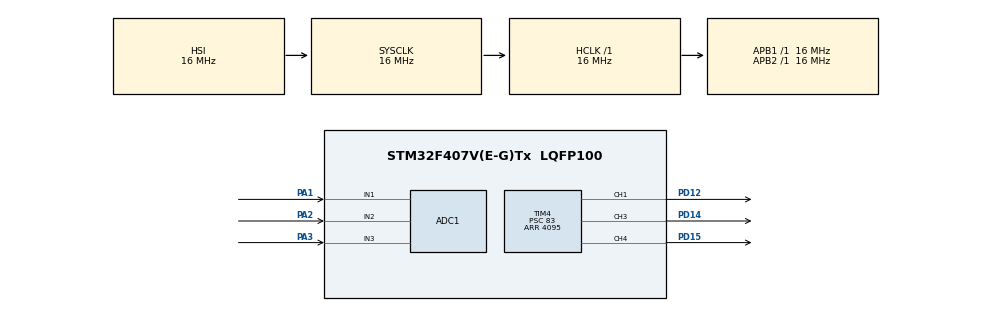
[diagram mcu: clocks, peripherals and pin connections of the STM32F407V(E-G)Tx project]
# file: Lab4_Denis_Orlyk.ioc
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ADC1.Channel-0\#ChannelRegularConversion=ADC_CHANNEL_1
ADC1.Channel-1\#ChannelRegularConversion=ADC_CHANNEL_2
ADC1.Channel-2\#ChannelRegularConversion=ADC_CHANNEL_3
ADC1.ClockPrescaler=ADC_CLOCK_SYNC_PCLK_DIV8
ADC1.NbrOfConversion=3
ADC1.NbrOfConversionFlag=1
ADC1.Rank-0\#ChannelRegularConversion=1
ADC1.Rank-1\#ChannelRegularConversion=2
ADC1.Rank-2\#ChannelRegularConversion=3
ADC1.SamplingTime-0\#ChannelRegularConversion=ADC_SAMPLETIME_480CYCLES
ADC1.SamplingTime-1\#ChannelRegularConversion=ADC_SAMPLETIME_480CYCLES
ADC1.SamplingTime-2\#ChannelRegularConversion=ADC_SAMPLETIME_480CYCLES
ADC1.master=1
Mcu.Family=STM32F4
Mcu.Name=STM32F407V(E-G)Tx
Mcu.Package=LQFP100
NVIC.PriorityGroup=NVIC_PRIORITYGROUP_4
PA1.Signal=ADCx_IN1
PA2.Signal=ADCx_IN2
PA3.Signal=ADCx_IN3
PD12.Signal=S_TIM4_CH1
PD14.Signal=S_TIM4_CH3
PD15.Signal=S_TIM4_CH4
ProjectManager.HeapSize=0x200
ProjectManager.StackSize=0x400
ProjectManager.TargetToolchain=STM32CubeIDE
RCC.AHBFreq_Value=16000000
RCC.APB1Freq_Value=16000000
RCC.APB2Freq_Value=16000000
RCC.CortexFreq_Value=16000000
RCC.HSE_VALUE=25000000
RCC.HSI_VALUE=16000000
RCC.LSE_VALUE=32768
RCC.SYSCLKFreq_VALUE=16000000
RCC.VCOOutputFreq_Value=192000000
SH.ADCx_IN1.0=ADC1_IN1,IN1
SH.ADCx_IN2.0=ADC1_IN2,IN2
SH.ADCx_IN3.0=ADC1_IN3,IN3
SH.S_TIM4_CH1.0=TIM4_CH1,PWM Generation1 CH1
SH.S_TIM4_CH3.0=TIM4_CH3,PWM Generation3 CH3
SH.S_TIM4_CH4.0=TIM4_CH4,PWM Generation4 CH4
TIM4.Channel-PWM\ Generation1\ CH1=TIM_CHANNEL_1
TIM4.Channel-PWM\ Generation3\ CH3=TIM_CHANNEL_3
TIM4.Channel-PWM\ Generation4\ CH4=TIM_CHANNEL_4
TIM4.Period=4095
TIM4.Prescaler=83
VP_TIM4_VS_ClockSourceINT.Mode=Internal
board=custom

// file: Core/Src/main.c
/* USER CODE BEGIN Header */
/**
  ******************************************************************************
  * @file           : main.c
  * @brief          : Main program body
  ******************************************************************************
  * @attention
  *
  * Copyright (c) 2026 STMicroelectronics.
  * All rights reserved.
  *
  * This software is licensed under terms that can be found in the LICENSE file
  * in the root directory of this software component.
  * If no LICENSE file comes with this software, it is provided AS-IS.
  *
  ******************************************************************************
  */
/* USER CODE END Header */
#include "main.h"

ADC_HandleTypeDef hadc1;

TIM_HandleTypeDef htim4;

void SystemClock_Config(void);
static void MX_GPIO_Init(void);
static void MX_ADC1_Init(void);
static void MX_TIM4_Init(void);

int main(void)
{

  /* MCU Configuration--------------------------------------------------------*/

  /* Reset of all peripherals, Initializes the Flash interface and the Systick. */
  HAL_Init();

  /* Configure the system clock */
  SystemClock_Config();

  /* Initialize all configured peripherals */
  MX_GPIO_Init();
  MX_ADC1_Init();
  MX_TIM4_Init();
  /* USER CODE BEGIN 2 */
  HAL_TIM_PWM_Start(&htim4, TIM_CHANNEL_1);
  HAL_TIM_PWM_Start(&htim4, TIM_CHANNEL_3);
  HAL_TIM_PWM_Start(&htim4, TIM_CHANNEL_4);

  uint32_t adcValue1 = 0, adcValue2 = 0, adcValue3 = 0;
  volatile HAL_StatusTypeDef adcPoolResult;
  /* USER CODE END 2 */

  /* Infinite loop */
  /* USER CODE BEGIN WHILE */
  while (1)
  {
	  HAL_ADC_Start(&hadc1);
	  adcPoolResult = HAL_ADC_PollForConversion(&hadc1, 10);

	  if (adcPoolResult == HAL_OK) {
		  adcValue1 = HAL_ADC_GetValue(&hadc1);
	  } else {
		  continue;
	  }

	  adcPoolResult = HAL_ADC_PollForConversion(&hadc1, 10);

	  if (adcPoolResult == HAL_OK) {
		  adcValue2 = HAL_ADC_GetValue(&hadc1);
	  } else {
		  continue;
	  }

	  adcPoolResult = HAL_ADC_PollForConversion(&hadc1, 10);

	  if (adcPoolResult == HAL_OK) {
		  adcValue3 = HAL_ADC_GetValue(&hadc1);
	  } else {
		  continue;
	  }

	  HAL_ADC_Stop(&hadc1);

	  __HAL_TIM_SET_COMPARE(&htim4, TIM_CHANNEL_1, adcValue1);
	  __HAL_TIM_SET_COMPARE(&htim4, TIM_CHANNEL_3, adcValue2);
	  __HAL_TIM_SET_COMPARE(&htim4, TIM_CHANNEL_4, adcValue3);
    /* USER CODE END WHILE */

  }
}

void SystemClock_Config(void)
{
  RCC_OscInitTypeDef RCC_OscInitStruct = {0};
  RCC_ClkInitTypeDef RCC_ClkInitStruct = {0};

  /** Configure the main internal regulator output voltage
  */
  __HAL_RCC_PWR_CLK_ENABLE();
  __HAL_PWR_VOLTAGESCALING_CONFIG(PWR_REGULATOR_VOLTAGE_SCALE1);

  /** Initializes the RCC Oscillators according to the specified parameters
  * in the RCC_OscInitTypeDef structure.
  */
  RCC_OscInitStruct.OscillatorType = RCC_OSCILLATORTYPE_HSI;
  RCC_OscInitStruct.HSIState = RCC_HSI_ON;
  RCC_OscInitStruct.HSICalibrationValue = RCC_HSICALIBRATION_DEFAULT;
  RCC_OscInitStruct.PLL.PLLState = RCC_PLL_NONE;
  if (HAL_RCC_OscConfig(&RCC_OscInitStruct) != HAL_OK)
  {
    Error_Handler();
  }

  /** Initializes the CPU, AHB and APB buses clocks
  */
  RCC_ClkInitStruct.ClockType = RCC_CLOCKTYPE_HCLK|RCC_CLOCKTYPE_SYSCLK
                              |RCC_CLOCKTYPE_PCLK1|RCC_CLOCKTYPE_PCLK2;
  RCC_ClkInitStruct.SYSCLKSource = RCC_SYSCLKSOURCE_HSI;
  RCC_ClkInitStruct.AHBCLKDivider = RCC_SYSCLK_DIV1;
  RCC_ClkInitStruct.APB1CLKDivider = RCC_HCLK_DIV1;
  RCC_ClkInitStruct.APB2CLKDivider = RCC_HCLK_DIV1;

  if (HAL_RCC_ClockConfig(&RCC_ClkInitStruct, FLASH_LATENCY_0) != HAL_OK)
  {
    Error_Handler();
  }
}

static void MX_ADC1_Init(void)
{

  ADC_ChannelConfTypeDef sConfig = {0};

  /** Configure the global features of the ADC (Clock, Resolution, Data Alignment and number of conversion)
  */
  hadc1.Instance = ADC1;
  hadc1.Init.ClockPrescaler = ADC_CLOCK_SYNC_PCLK_DIV8;
  hadc1.Init.Resolution = ADC_RESOLUTION_12B;
  hadc1.Init.ScanConvMode = ENABLE;
  hadc1.Init.ContinuousConvMode = DISABLE;
  hadc1.Init.DiscontinuousConvMode = DISABLE;
  hadc1.Init.ExternalTrigConvEdge = ADC_EXTERNALTRIGCONVEDGE_NONE;
  hadc1.Init.ExternalTrigConv = ADC_SOFTWARE_START;
  hadc1.Init.DataAlign = ADC_DATAALIGN_RIGHT;
  hadc1.Init.NbrOfConversion = 3;
  hadc1.Init.DMAContinuousRequests = DISABLE;
  hadc1.Init.EOCSelection = ADC_EOC_SINGLE_CONV;
  if (HAL_ADC_Init(&hadc1) != HAL_OK)
  {
    Error_Handler();
  }

  /** Configure for the selected ADC regular channel its corresponding rank in the sequencer and its sample time.
  */
  sConfig.Channel = ADC_CHANNEL_1;
  sConfig.Rank = 1;
  sConfig.SamplingTime = ADC_SAMPLETIME_480CYCLES;
  if (HAL_ADC_ConfigChannel(&hadc1, &sConfig) != HAL_OK)
  {
    Error_Handler();
  }

  /** Configure for the selected ADC regular channel its corresponding rank in the sequencer and its sample time.
  */
  sConfig.Channel = ADC_CHANNEL_2;
  sConfig.Rank = 2;
  if (HAL_ADC_ConfigChannel(&hadc1, &sConfig) != HAL_OK)
  {
    Error_Handler();
  }

  /** Configure for the selected ADC regular channel its corresponding rank in the sequencer and its sample time.
  */
  sConfig.Channel = ADC_CHANNEL_3;
  sConfig.Rank = 3;
  if (HAL_ADC_ConfigChannel(&hadc1, &sConfig) != HAL_OK)
  {
    Error_Handler();
  }

}

static void MX_TIM4_Init(void)
{

  TIM_ClockConfigTypeDef sClockSourceConfig = {0};
  TIM_MasterConfigTypeDef sMasterConfig = {0};
  TIM_OC_InitTypeDef sConfigOC = {0};

  htim4.Instance = TIM4;
  htim4.Init.Prescaler = 83;
  htim4.Init.CounterMode = TIM_COUNTERMODE_UP;
  htim4.Init.Period = 4095;
  htim4.Init.ClockDivision = TIM_CLOCKDIVISION_DIV1;
  htim4.Init.AutoReloadPreload = TIM_AUTORELOAD_PRELOAD_DISABLE;
  if (HAL_TIM_Base_Init(&htim4) != HAL_OK)
  {
    Error_Handler();
  }
  sClockSourceConfig.ClockSource = TIM_CLOCKSOURCE_INTERNAL;
  if (HAL_TIM_ConfigClockSource(&htim4, &sClockSourceConfig) != HAL_OK)
  {
    Error_Handler();
  }
  if (HAL_TIM_PWM_Init(&htim4) != HAL_OK)
  {
    Error_Handler();
  }
  sMasterConfig.MasterOutputTrigger = TIM_TRGO_RESET;
  sMasterConfig.MasterSlaveMode = TIM_MASTERSLAVEMODE_DISABLE;
  if (HAL_TIMEx_MasterConfigSynchronization(&htim4, &sMasterConfig) != HAL_OK)
  {
    Error_Handler();
  }
  sConfigOC.OCMode = TIM_OCMODE_PWM1;
  sConfigOC.Pulse = 0;
  sConfigOC.OCPolarity = TIM_OCPOLARITY_HIGH;
  sConfigOC.OCFastMode = TIM_OCFAST_DISABLE;
  if (HAL_TIM_PWM_ConfigChannel(&htim4, &sConfigOC, TIM_CHANNEL_1) != HAL_OK)
  {
    Error_Handler();
  }
  if (HAL_TIM_PWM_ConfigChannel(&htim4, &sConfigOC, TIM_CHANNEL_3) != HAL_OK)
  {
    Error_Handler();
  }
  if (HAL_TIM_PWM_ConfigChannel(&htim4, &sConfigOC, TIM_CHANNEL_4) != HAL_OK)
  {
    Error_Handler();
  }
  HAL_TIM_MspPostInit(&htim4);

}

static void MX_GPIO_Init(void)
{

  /* GPIO Ports Clock Enable */
  __HAL_RCC_GPIOA_CLK_ENABLE();
  __HAL_RCC_GPIOD_CLK_ENABLE();

}

void Error_Handler(void)
{
  __disable_irq();
  while (1)
  {
  }
}
